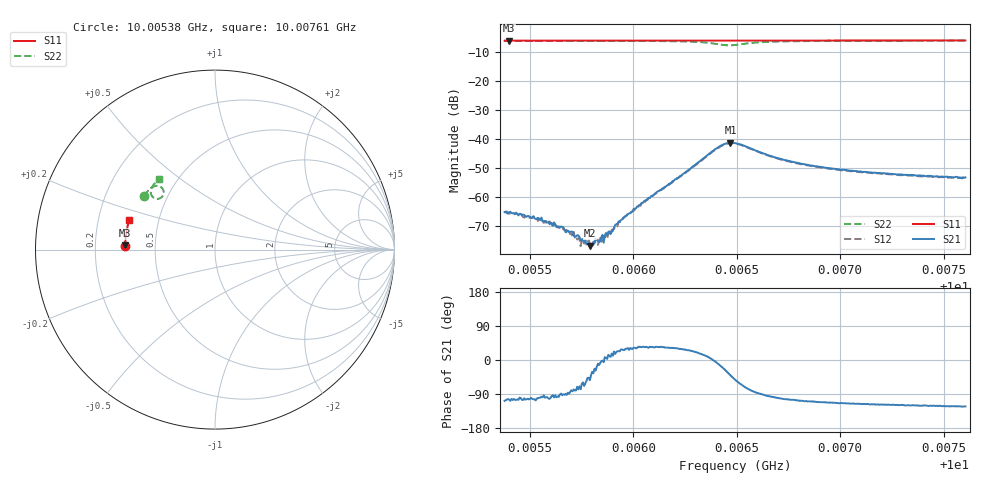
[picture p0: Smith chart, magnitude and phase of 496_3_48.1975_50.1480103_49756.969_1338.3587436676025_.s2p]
#  HZ  S  RI  R  50.00
! Rohde & Schwarz Vector Network Analyzer
! Rohde-Schwarz,ZNB20-2Port,1311601062101988,3.16
! Created: UTC 3/20/2024, 11:58:17 AM
! freq[Hz]  re:S11  im:S11  re:S21  im:S21  re:S12  im:S12  re:S22  im:S22
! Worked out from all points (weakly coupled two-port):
!   401 points, 10.00538 GHz to 10.00761 GHz, reference 50 ohm
!   highest |S21| = -41.16 dB at 10.00647 GHz (marker M1); lowest = -76.6 dB at 10.00579 GHz (marker M2)
!   lowest |S11| = -6.0 dB at 10.0054 GHz (marker M3), VSWR 3.01, Z = 16.6 + j1.02 ohm
!   |S11| at or under -10 dB: nowhere
!   |S22| runs from -7.6 to -6.0 dB; largest |S21 - S12| = 0.00055
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1.0005378e10  -0.5005 0.0215  -0.00017 -0.000535  -0.000117 -0.000545  -0.3955 0.2993
1.00054e10  -0.5003 0.0229  -0.00014 -0.000541  -0.000142 -0.00051  -0.3945 0.3006
1.0005545e10  -0.4999 0.0324  -7.28e-05 -0.000423  -7.36e-05 -0.000423  -0.3885 0.309
1.0005606e10  -0.4999 0.0364  -2.73e-05 -0.000337  -4.67e-05 -0.00036  -0.3856 0.3128
1.0005651e10  -0.4998 0.0393  6.96e-06 -0.000316  1.7e-05 -0.000294  -0.3836 0.3155
1.0005679e10  -0.4998 0.0411  -8.77e-06 -0.000257  1.4e-05 -0.000266  -0.3822 0.3173
1.0005695e10  -0.4996 0.0421  2.81e-05 -0.000256  2.01e-05 -0.000232  -0.3813 0.3182
1.0005751e10  -0.4995 0.0458  8.15e-05 -0.000159  5.45e-05 -0.000178  -0.3787 0.3218
1.000579e10  -0.4994 0.0483  8.83e-05 -0.000118  9.78e-05 -0.000128  -0.3764 0.3241
1.0005818e10  -0.4991 0.0501  0.000171 -9.15e-05  0.000149 -7.7e-05  -0.375 0.326
1.0005846e10  -0.4991 0.0519  0.000206 -1.05e-05  0.000172 -3.43e-06  -0.3734 0.3277
1.0005879e10  -0.4989 0.0541  0.000248 5.97e-05  0.000232 5.29e-05  -0.3713 0.3299
1.0005896e10  -0.4989 0.0552  0.000247 7.52e-05  0.00026 9.9e-05  -0.3704 0.331
1.0005968e10  -0.4984 0.0598  0.00042 0.000244  0.000431 0.00024  -0.3657 0.3356
1.0006124e10  -0.4974 0.07  0.00107 0.000723  0.00101 0.000747  -0.3521 0.3466
1.0006403e10  -0.4945 0.0879  0.00696 -0.00083  0.00684 -0.000447  -0.2883 0.3322
1.0006469e10  -0.4938 0.0916  0.00666 -0.00568  0.00685 -0.00516  -0.2989 0.2905
1.0006492e10  -0.4936 0.0929  0.00533 -0.0068  0.00562 -0.00635  -0.3127 0.2835
1.0006692e10  -0.4922 0.1057  -0.000793 -0.00475  -0.000554 -0.00472  -0.3579 0.3258
1.0006865e10  -0.4901 0.1167  -0.00119 -0.00333  -0.00102 -0.00332  -0.3506 0.3482
1.0007238e10  -0.4847 0.1403  -0.00122 -0.00226  -0.00108 -0.00225  -0.3309 0.3748
1.0007606e10  -0.4783 0.1631  -0.00119 -0.00187  -0.00107 -0.00185  -0.3119 0.3938
